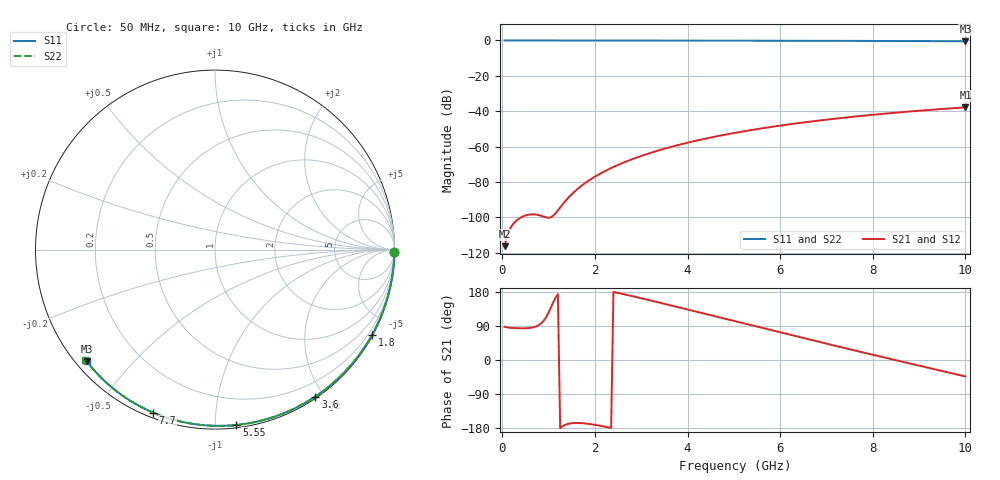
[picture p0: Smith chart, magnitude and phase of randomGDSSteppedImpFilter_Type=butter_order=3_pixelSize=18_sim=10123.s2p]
! freq	dB(S11)	phase(S11)	dB(S12)	phase(S12)
!  dB(S21)	phase(S21)	dB(S22)	phase(S22)
!S-par simulation data
#  GHz  S  DB  R 50
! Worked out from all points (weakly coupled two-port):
!   200 points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, 50 MHz to 10 GHz, reference 50 ohm
!   highest |S21| = -37.81 dB at 10 GHz (marker M1); lowest = -116.3 dB at 50 MHz (marker M2)
!   lowest |S11| = -0.5 dB at 10 GHz (marker M3), VSWR 36.98, Z = 1.54 - j18.7 ohm
!   |S11| at or under -10 dB: nowhere
!   |S22| runs from -0.5 to 0.0 dB; largest |S21 - S12| = 0
!   S11 on the Smith chart (normalised r, x): 50 MHz: open; 1.8 GHz: 0.03, -3.94; 3.6 GHz: 0.02, -1.89; 5.55 GHz: 0.02, -1.13; 7.7 GHz: 0.02, -0.69; 10 GHz: 0.03, -0.37
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0.05  -0.00 -0.8  -116.33 87.7  -116.33 87.7  -0.00 -0.8
0.45  -0.01 -7.2  -99.47 83.5  -99.47 83.5  -0.01 -7.3
0.9  -0.02 -14.4  -99.69 104.6  -99.69 104.6  -0.02 -14.5
1.75  -0.04 -27.7  -81.38 -167.0  -81.38 -167.0  -0.04 -27.9
1.8  -0.04 -28.5  -80.43 -167.6  -80.43 -167.6  -0.04 -28.7
1.85  -0.04 -29.3  -79.53 -168.4  -79.53 -168.4  -0.04 -29.4
2.05  -0.04 -32.4  -76.26 -172.1  -76.26 -172.1  -0.04 -32.5
2.25  -0.05 -35.4  -73.44 -176.7  -73.44 -176.7  -0.05 -35.6
2.55  -0.05 -40.0  -69.80 175.6  -69.80 175.6  -0.05 -40.2
2.95  -0.06 -46.0  -65.76 164.4  -65.76 164.4  -0.06 -46.3
3.4  -0.07 -52.7  -61.98 151.2  -61.98 151.2  -0.07 -53.0
3.6  -0.07 -55.7  -60.49 145.2  -60.49 145.2  -0.08 -56.0
3.9  -0.08 -60.0  -58.45 136.2  -58.45 136.2  -0.08 -60.3
4.3  -0.09 -65.7  -56.01 124.1  -56.01 124.1  -0.09 -66.1
5.05  -0.12 -76.2  -52.13 101.4  -52.13 101.4  -0.12 -76.6
5.55  -0.14 -83.0  -49.93 86.3  -49.93 86.3  -0.14 -83.5
6.1  -0.16 -90.3  -47.78 69.8  -47.78 69.8  -0.16 -90.8
6.7  -0.19 -98.1  -45.72 51.9  -45.72 51.9  -0.19 -98.7
7.7  -0.25 -110.8  -42.80 22.5  -42.80 22.5  -0.26 -111.4
8.35  -0.30 -118.8  -41.18 3.7  -41.18 3.7  -0.31 -119.5
9.2  -0.38 -129.2  -39.32 -20.7  -39.32 -20.7  -0.39 -129.9
10  -0.47 -138.9  -37.81 -43.4  -37.81 -43.4  -0.47 -139.7
